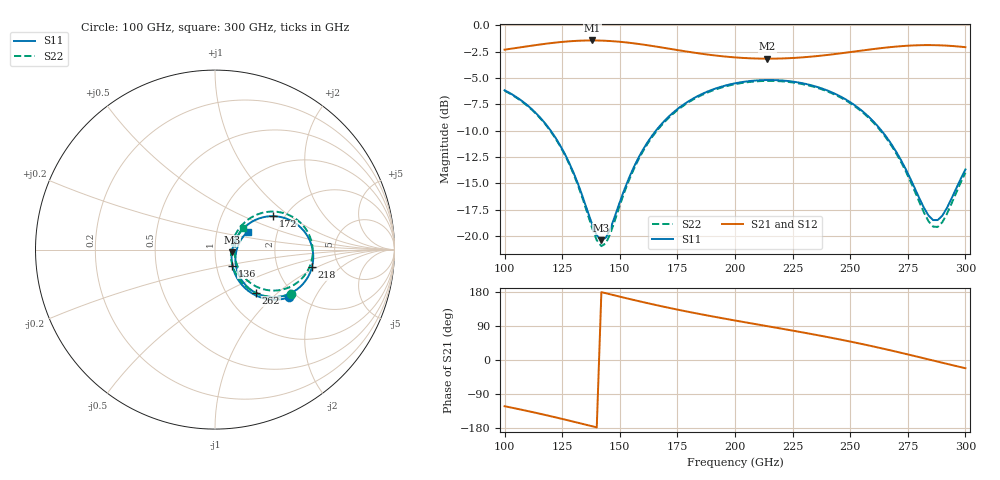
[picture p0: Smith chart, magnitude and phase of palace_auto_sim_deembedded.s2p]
! Created with skrf 1.11.0 (http://scikit-rf.org).
# GHz S DB R 50.0
!freq dBS11 angS11 dBS21 angS21 dBS12 angS12 dBS22 angS22
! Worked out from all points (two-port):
!   101 points, 100 GHz to 300 GHz, reference 50 ohm
!   highest |S21| = -1.44 dB at 138 GHz (marker M1); lowest = -3.2 dB at 214 GHz (marker M2)
!   |S21| within 3 dB of the highest: start of sweep to end of sweep
!   lowest |S11| = -20.4 dB at 142 GHz (marker M3), VSWR 1.21, Z = 60.3 - j1.94 ohm
!   |S11| at or under -10 dB: 120 GHz to 165.7 GHz (45.67 GHz wide, 32 % of centre); 263.6 GHz to end of sweep
!   |S22| runs from -21.0 to -5.3 dB; largest |S21 - S12| = 9.2e-14
!   S11 on the Smith chart (normalised r, x): 100 GHz: 1.83, -1.28; 136 GHz: 1.19, -0.22; 172 GHz: 1.76, +0.76; 218 GHz: 3.17, -0.87; 262 GHz: 1.36, -0.74; 300 GHz: 1.41, +0.29
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100  -6.16 -32.6  -2.31 -122.0  -2.31 -122.0  -6.22 -30.5
120  -9.99 -50.0  -1.70 -148.3  -1.70 -148.3  -10.07 -47.8
128  -13.04 -52.7  -1.52 -159.9  -1.52 -159.9  -13.14 -50.7
134  -16.34 -47.5  -1.45 -168.8  -1.45 -168.8  -16.54 -45.8
136  -17.63 -42.5  -1.44 -171.8  -1.44 -171.8  -17.89 -40.9
138  -18.90 -34.7  -1.44 -174.9  -1.44 -174.9  -19.25 -33.0
142  -20.42 -9.6  -1.46 179.1  -1.46 179.1  -20.96 -6.7
146  -19.24 16.5  -1.50 173.1  -1.50 173.1  -19.71 21.3
158  -12.61 37.4  -1.77 155.6  -1.77 155.6  -12.78 42.5
168  -9.40 32.8  -2.10 142.0  -2.10 142.0  -9.51 37.8
172  -8.51 29.7  -2.24 136.8  -2.24 136.8  -8.62 34.8
184  -6.70 19.5  -2.65 122.2  -2.65 122.2  -6.79 24.7
200  -5.51 5.5  -3.05 104.2  -3.05 104.2  -5.59 10.9
214  -5.19 -6.6  -3.17 89.3  -3.17 89.3  -5.28 -1.0
218  -5.21 -10.1  -3.16 85.1  -3.16 85.1  -5.29 -4.4
234  -5.74 -24.0  -2.96 67.6  -2.96 67.6  -5.83 -18.1
248  -7.03 -36.1  -2.60 51.2  -2.60 51.2  -7.12 -30.2
262  -9.58 -46.6  -2.21 33.0  -2.21 33.0  -9.70 -40.8
268  -11.32 -49.1  -2.06 24.8  -2.06 24.8  -11.46 -43.4
286  -18.48 -14.8  -1.88 -1.4  -1.88 -1.4  -19.11 -8.5
290  -18.06 5.3  -1.91 -7.3  -1.91 -7.3  -18.68 13.4
300  -13.68 28.7  -2.08 -21.7  -2.08 -21.7  -14.00 37.9
